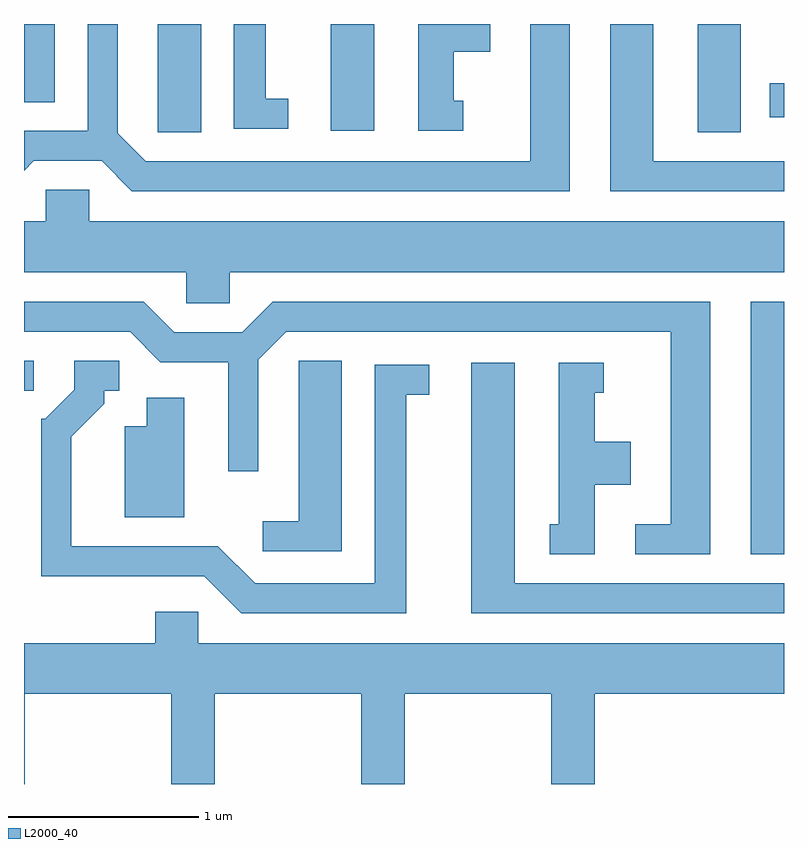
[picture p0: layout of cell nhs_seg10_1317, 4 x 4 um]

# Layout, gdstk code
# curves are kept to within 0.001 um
import gdstk
lib = gdstk.Library(unit=1e-6, precision=1e-09)
def R(c, l, rs):  # rectangles x0, y0, x1, y1
    for r in rs: c.add(gdstk.rectangle(r[:2], r[2:], *l))
def P(c, l, *ps):  # polygons
    for p in ps: c.add(gdstk.Polygon(p, *l))
L2000_40 = (2000, 40)

nhs_seg10_1317 = lib.new_cell('nhs_seg10_1317')
R(nhs_seg10_1317, L2000_40, [(227.436,2145.731,227.611,2147.059), (223.611,2146.591,223.663,2146.749), (224.316,2147.951,224.544,2148.522), (227.156,2147.951,227.384,2148.522), (225.226,2147.961,225.454,2148.522), (227.536,2148.031,227.611,2148.209), (223.611,2148.111,223.774,2148.522)])
P(nhs_seg10_1317, L2000_40, [(225.923,2148.119),(225.874,2148.119),(225.874,2148.376),(226.064,2148.376),(226.064,2148.522),(225.686,2148.522),(225.686,2147.961),(225.923,2147.961)],
  [(227.611,2147.799),(226.924,2147.799),(226.924,2148.522),(226.696,2148.522),(226.696,2147.641),(227.611,2147.641)],
  [(226.484,2148.522),(226.276,2148.522),(226.276,2147.799),(224.252,2147.799),(224.104,2147.947),(224.104,2148.522),(223.946,2148.522),(223.946,2147.959),(223.611,2147.959),(223.611,2147.75),(223.662,2147.801),(224.019,2147.801),(224.179,2147.641),(226.484,2147.641)],
  [(225.003,2148.129),(224.884,2148.129),(224.884,2148.522),(224.716,2148.522),(224.716,2147.971),(225.003,2147.971)],
  [(224.694,2147.216),(227.611,2147.216),(227.611,2147.484),(223.954,2147.484),(223.954,2147.649),(223.726,2147.649),(223.726,2147.484),(223.611,2147.484),(223.611,2147.216),(224.466,2147.216),(224.466,2147.051),(224.694,2147.051)],
  [(227.224,2147.059),(224.919,2147.059),(224.759,2146.899),(224.402,2146.899),(224.242,2147.059),(223.611,2147.059),(223.611,2146.901),(224.169,2146.901),(224.329,2146.741),(224.686,2146.741),(224.686,2146.168),(224.844,2146.168),(224.844,2146.754),(224.992,2146.901),(227.016,2146.901),(227.016,2145.889),(226.828,2145.889),(226.828,2145.731),(227.224,2145.731)],
  [(225.284,2146.749),(225.056,2146.749),(225.056,2145.904),(224.868,2145.904),(224.868,2145.746),(225.284,2145.746)],
  [(225.624,2146.571),(225.743,2146.571),(225.743,2146.729),(225.456,2146.729),(225.456,2145.579),(224.827,2145.579),(224.632,2145.774),(223.859,2145.774),(223.859,2146.349),(224.034,2146.524),(224.034,2146.591),(224.113,2146.591),(224.113,2146.749),(223.876,2146.749),(223.876,2146.597),(223.724,2146.444),(223.701,2146.444),(223.701,2145.616),(224.559,2145.616),(224.754,2145.421),(225.624,2145.421)],
  [(226.614,2146.096),(226.804,2146.096),(226.804,2146.324),(226.614,2146.324),(226.614,2146.581),(226.663,2146.581),(226.663,2146.739),(226.426,2146.739),(226.426,2145.889),(226.378,2145.889),(226.378,2145.731),(226.614,2145.731)],
  [(227.611,2145.579),(226.194,2145.579),(226.194,2146.739),(225.966,2146.739),(225.966,2145.421),(227.611,2145.421)],
  [(224.454,2146.554),(224.256,2146.554),(224.256,2146.404),(224.141,2146.404),(224.141,2145.926),(224.454,2145.926)],
  [(223.614,2144.996),(224.386,2144.996),(224.386,2144.522),(224.614,2144.522),(224.614,2144.996),(225.386,2144.996),(225.386,2144.522),(225.614,2144.522),(225.614,2144.996),(226.386,2144.996),(226.386,2144.522),(226.614,2144.522),(226.614,2144.996),(227.611,2144.996),(227.611,2145.264),(224.529,2145.264),(224.529,2145.429),(224.301,2145.429),(224.301,2145.264),(223.611,2145.264),(223.611,2144.522),(223.614,2144.522)])

lib.write_gds('nhs_seg10_1317.gds')
